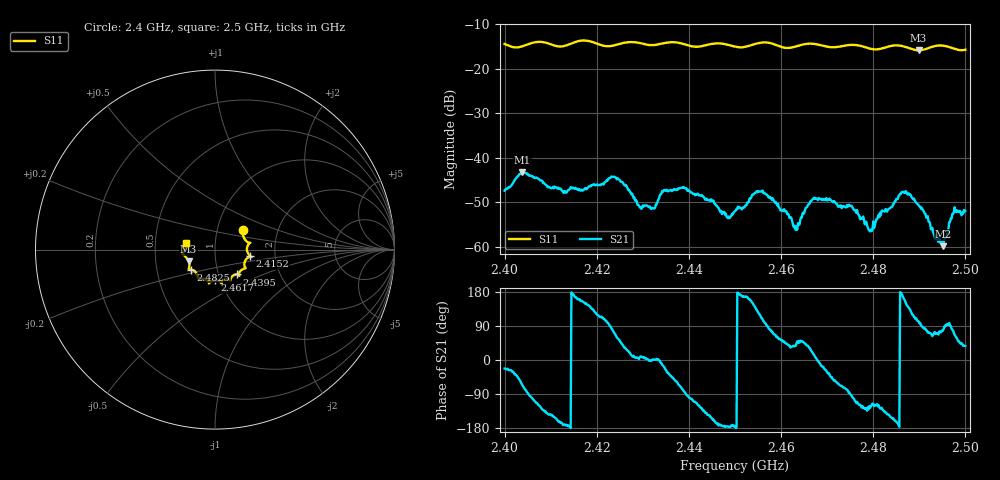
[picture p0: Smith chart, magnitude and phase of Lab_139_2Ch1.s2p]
# Hz S RI R 50
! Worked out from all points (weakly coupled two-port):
!   601 points, 2.4 GHz to 2.5 GHz, reference 50 ohm
!   highest |S21| = -43.22 dB at 2.4038 GHz (marker M1); lowest = -59.8 dB at 2.4952 GHz (marker M2)
!   lowest |S11| = -15.9 dB at 2.4898 GHz (marker M3), VSWR 1.38, Z = 36.9 - j4.94 ohm
!   |S11| at or under -10 dB: start of sweep to end of sweep
!   S12 and S22 are empty: the file has one direction only
!   S11 on the Smith chart (normalised r, x): 2.4 GHz: 1.33, +0.30; 2.4152 GHz: 1.48, -0.11; 2.4395 GHz: 1.23, -0.35; 2.4617 GHz: 0.94, -0.33; 2.4825 GHz: 0.75, -0.17; 2.5 GHz: 0.72, +0.05
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2.4e9  0.1557 0.109  0.00395 -0.00163  0 0  0 0
2.403833e9  0.1719 0.0497  0.00288 -0.00627  0 0  0 0
2.415167e9  0.1952 -0.036  -0.00439 0.000965  0 0  0 0
2.416667e9  0.2035 -0.0414  -0.00402 0.00177  0 0  0 0
2.423667e9  0.1634 -0.082  0.00168 0.00587  0 0  0 0
2.429333e9  0.1632 -0.106  0.00276 0.000373  0 0  0 0
2.433333e9  0.1334 -0.1328  0.00336 0.00012  0 0  0 0
2.4395e9  0.123 -0.1382  -0.000211 -0.00447  0 0  0 0
2.45e9  0.0664 -0.1648  -0.00252 -0.000191  0 0  0 0
2.4555e9  0.0364 -0.1928  -0.00191 0.00372  0 0  0 0
2.461667e9  0.000682 -0.1715  0.00178 0.00143  0 0  0 0
2.4635e9  -0.0224 -0.1788  0.00103 0.00118  0 0  0 0
2.466667e9  -0.0337 -0.1885  0.00312 0.00127  0 0  0 0
2.475167e9  -0.0919 -0.1611  -0.000132 -0.00288  0 0  0 0
2.479333e9  -0.1027 -0.1331  -0.000886 -0.00121  0 0  0 0
2.4825e9  -0.1321 -0.1114  -0.00184 -0.00167  0 0  0 0
2.483333e9  -0.1395 -0.1107  -0.00216 -0.00157  0 0  0 0
2.486667e9  -0.1449 -0.1036  -0.00385 0.00134  0 0  0 0
2.489833e9  -0.1474 -0.0652  -0.000608 0.00289  0 0  0 0
2.495167e9  -0.1807 -0.0209  0.000197 0.001  0 0  0 0
2.4975e9  -0.1687 -0.00482  0.000792 0.00233  0 0  0 0
2.5e9  -0.1601 0.0351  0.00203 0.00153  0 0  0 0
